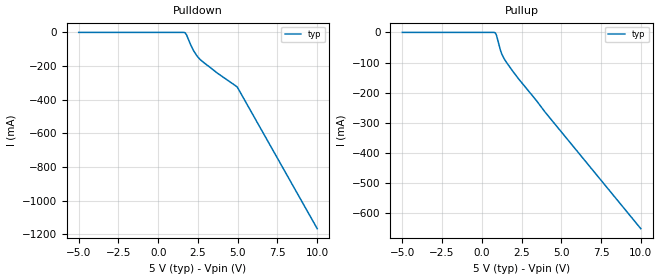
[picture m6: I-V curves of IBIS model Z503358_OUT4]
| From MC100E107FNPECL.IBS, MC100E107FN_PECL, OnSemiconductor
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| (C) COPYRIGHT 1993-2000
| MENTOR GRAPHICS CORPORATION
| ICX STANDARD LIBRARY, ICX PROJECT MODELING,
| ICX CUSTOM MODELING, ICX VENDOR MODEL
| ALL RIGHTS RESERVED.
| THE FOLLOWING ARE TRADEMARKS OR SERVICE MARKS OF
| MENTOR GRAPHICS CORPORATION:ICX (R), ICX STANDARD
| LIBRARY(R), ICX PROJECT MODELING(R), ICX CUSTOM
| MODELING(R), qualityIBIS(TM), MODELVIEWER(TM),
| AND MODELEDITOR(TM)
| ALL COPIES OF SOFTWARE, INCLUDING BUT NOT LIMITED TO
| ANY MODIFICATIONS, ENHANCEMENTS OR DERIVATIVE WORKS,
| MUST CONTAIN ALL MENTOR GRAPHICS CORPORATION'S
| NOTICES AND LEGENDS, INCLUDING THOSE EMBEDDED IN
| SOFTWARE AND THOSE AFFIXED TO SOFTWARE MEDIUM
| AND CONTAINER, AS RECEIVED FROM MENTOR GRAPHICS
| CORPORATION.
| Model Application Version 1.89 2/18/99.
[Model] Z503358_OUT4
Model_type Output_ECL
Vref=3.000V
Rref=50.00ohms
Cref=0.000F
Vmeas=3.677V
C_comp 8.000pF NA NA
| variable typ   min   max
[Voltage Range] 5.000V NA NA
[POWER Clamp Reference] 5.000V NA NA
[Pullup Reference] 5.000V NA NA
[Pulldown Reference] 5.000V NA NA
[GND Clamp Reference] 0.000V NA NA
[GND Clamp]
-5V       0A         NA         NA
10V       0A         NA         NA
[Pulldown]
-5V       0A         NA         NA
1.694V    -2.6mA     NA         NA
1.776V    -13.3mA    NA         NA
2.039V    -73mA      NA         NA
2.222V    -108.2mA   NA         NA
2.445V    -140.8mA   NA         NA
2.648V    -162.1mA   NA         NA
3.723V    -242.1mA   NA         NA
4.981V    -326.1mA   NA         NA
10V       -1.166A    NA         NA
[Pullup]
-5V       0A         NA         NA
847mV     -1.7mA     NA         NA
929mV     -10.3mA    NA         NA
1.172V    -58.7mA    NA         NA
1.253V    -70.9mA    NA         NA
1.557V    -99.6mA    NA         NA
1.943V    -128.2mA   NA         NA
3.445V    -226.4mA   NA         NA
3.972V    -263.5mA   NA         NA
10V       -650.5mA   NA         NA
[POWER Clamp]
-5V       0A         NA         NA
10V       0A         NA         NA
[Ramp]
| variable typ min max
dV/dt_r 489.8m/439.5p NA NA
dV/dt_f 489.8m/288.1p NA NA
R_load = 500.0Ohms
